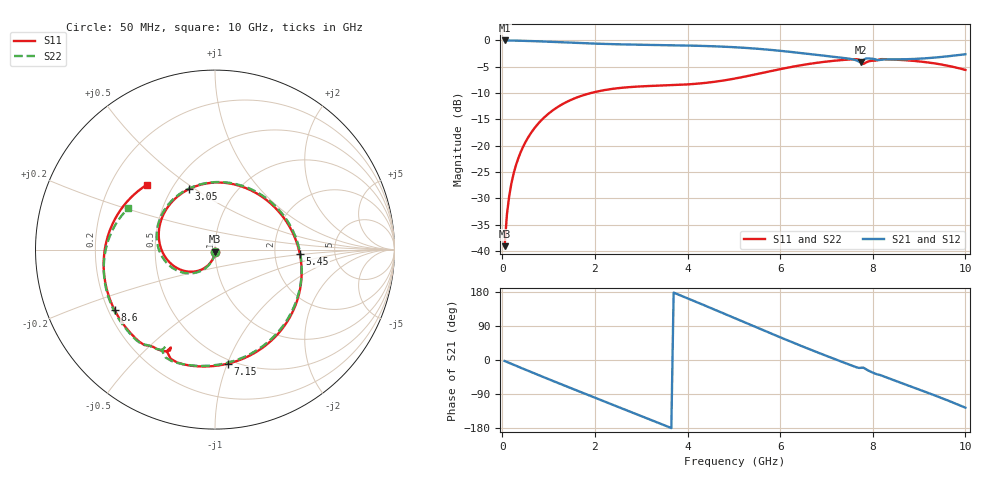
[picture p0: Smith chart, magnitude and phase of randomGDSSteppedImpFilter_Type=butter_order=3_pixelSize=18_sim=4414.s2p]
! freq	dB(S11)	phase(S11)	dB(S12)	phase(S12)
!  dB(S21)	phase(S21)	dB(S22)	phase(S22)
!S-par simulation data
#  GHz  S  DB  R 50
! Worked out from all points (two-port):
!   200 points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, 50 MHz to 10 GHz, reference 50 ohm
!   highest |S21| = -0.01 dB at 50 MHz (marker M1); lowest = -4.2 dB at 7.75 GHz (marker M2)
!   |S21| within 3 dB of the highest: start of sweep to 7.055 GHz; 9.632 GHz to end of sweep
!   lowest |S11| = -39.1 dB at 50 MHz (marker M3), VSWR 1.02, Z = 49.9 - j1.11 ohm
!   |S11| at or under -10 dB: start of sweep to 1.911 GHz
!   |S22| runs from -39.1 to -3.5 dB; largest |S21 - S12| = 0
!   S11 on the Smith chart (normalised r, x): 50 MHz: 1.00, -0.02; 3.05 GHz: 0.61, +0.47; 5.45 GHz: 2.79, -0.19; 7.15 GHz: 0.47, -1.00; 8.6 GHz: 0.23, -0.27; 10 GHz: 0.36, +0.35
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0.05  -39.09 -92.3  -0.01 -2.6  -0.01 -2.6  -39.08 -92.1
0.1  -33.06 -95.1  -0.01 -5.2  -0.01 -5.2  -33.06 -94.7
0.2  -27.03 -100.8  -0.03 -10.3  -0.03 -10.3  -27.02 -99.9
0.5  -19.33 -117.2  -0.09 -25.6  -0.09 -25.6  -19.33 -115.2
1.15  -12.92 -151.0  -0.30 -58.0  -0.30 -58.0  -12.92 -146.3
1.75  -10.41 178.3  -0.52 -87.3  -0.52 -87.3  -10.41 -174.4
2.35  -9.24 148.2  -0.70 -116.2  -0.70 -116.2  -9.25 157.9
3.05  -8.71 113.3  -0.83 -150.1  -0.83 -150.1  -8.73 125.1
3.4  -8.59 95.9  -0.88 -167.3  -0.88 -167.3  -8.61 108.2
4.15  -8.26 59.0  -1.00 155.2  -1.00 155.2  -8.30 70.1
4.65  -7.78 35.0  -1.14 129.6  -1.14 129.6  -7.82 43.3
5.05  -7.20 15.9  -1.31 108.9  -1.31 108.9  -7.24 21.3
5.45  -6.49 -3.2  -1.54 88.2  -1.54 88.2  -6.53 -0.7
6.1  -5.28 -34.2  -2.06 54.9  -2.06 54.9  -5.31 -35.5
6.7  -4.37 -62.7  -2.65 25.2  -2.65 25.2  -4.38 -65.7
7.15  -3.88 -83.7  -3.10 3.8  -3.10 3.8  -3.88 -87.1
7.75  -4.06 -115.4  -4.19 -20.5  -4.19 -20.5  -3.94 -117.8
7.85  -4.21 -114.1  -3.43 -24.1  -3.43 -24.1  -4.13 -116.8
8.35  -3.60 -137.0  -3.61 -48.5  -3.61 -48.5  -3.55 -137.6
8.6  -3.70 -148.9  -3.60 -59.8  -3.60 -59.8  -3.64 -147.9
9.3  -4.32 176.5  -3.29 -91.6  -3.29 -91.6  -4.20 -176.4
10  -5.61 136.6  -2.63 -125.8  -2.63 -125.8  -5.43 154.6
